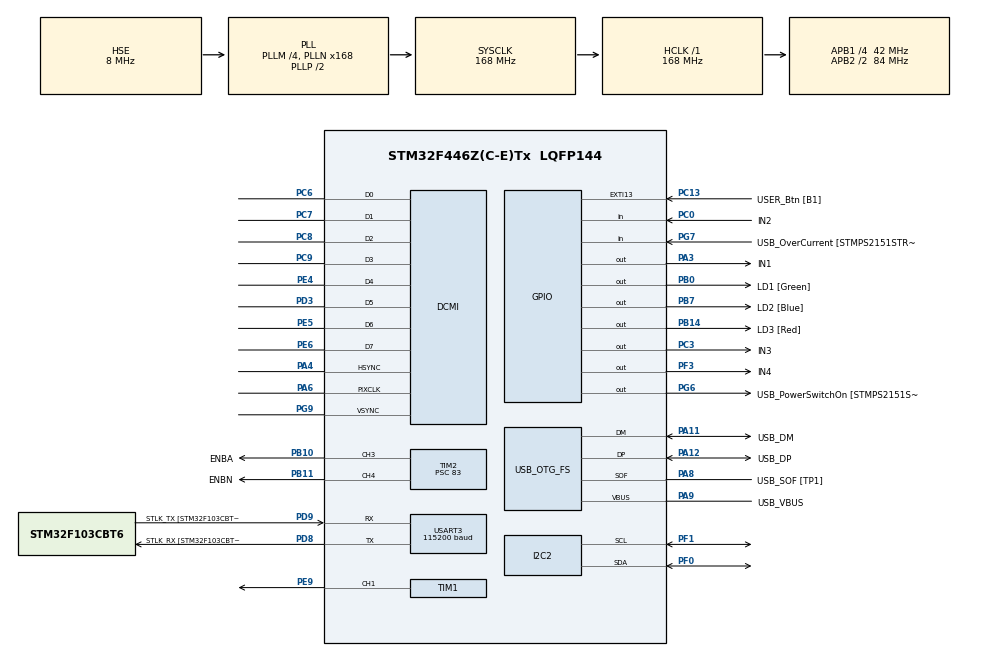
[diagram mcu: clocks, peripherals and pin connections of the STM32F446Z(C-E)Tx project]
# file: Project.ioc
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DCMI.CaptureRate=DCMI_CR_ALL_FRAME
DCMI.PCKPolarity=DCMI_PCKPOLARITY_RISING
DCMI.VSPolarity=DCMI_VSPOLARITY_HIGH
Dma.DCMI.0.Direction=DMA_PERIPH_TO_MEMORY
Dma.DCMI.0.FIFOMode=DMA_FIFOMODE_ENABLE
Dma.DCMI.0.FIFOThreshold=DMA_FIFO_THRESHOLD_FULL
Dma.DCMI.0.Instance=DMA2_Stream1
Dma.DCMI.0.MemBurst=DMA_MBURST_SINGLE
Dma.DCMI.0.MemDataAlignment=DMA_MDATAALIGN_WORD
Dma.DCMI.0.MemInc=DMA_MINC_ENABLE
Dma.DCMI.0.Mode=DMA_CIRCULAR
Dma.DCMI.0.PeriphBurst=DMA_PBURST_SINGLE
Dma.DCMI.0.PeriphDataAlignment=DMA_PDATAALIGN_WORD
Dma.DCMI.0.PeriphInc=DMA_PINC_DISABLE
Dma.DCMI.0.Priority=DMA_PRIORITY_HIGH
Dma.Request0=DCMI
Dma.Request1=USART3_TX
Dma.USART3_TX.1.Direction=DMA_MEMORY_TO_PERIPH
Dma.USART3_TX.1.FIFOMode=DMA_FIFOMODE_ENABLE
Dma.USART3_TX.1.FIFOThreshold=DMA_FIFO_THRESHOLD_FULL
Dma.USART3_TX.1.Instance=DMA1_Stream3
Dma.USART3_TX.1.MemBurst=DMA_MBURST_SINGLE
Dma.USART3_TX.1.MemDataAlignment=DMA_MDATAALIGN_BYTE
Dma.USART3_TX.1.MemInc=DMA_MINC_ENABLE
Dma.USART3_TX.1.Mode=DMA_NORMAL
Dma.USART3_TX.1.PeriphBurst=DMA_PBURST_SINGLE
Dma.USART3_TX.1.PeriphDataAlignment=DMA_PDATAALIGN_BYTE
Dma.USART3_TX.1.PeriphInc=DMA_PINC_DISABLE
Dma.USART3_TX.1.Priority=DMA_PRIORITY_LOW
Mcu.Family=STM32F4
Mcu.Name=STM32F446Z(C-E)Tx
Mcu.Package=LQFP144
NVIC.DCMI_IRQn=true\:0\:0\:false\:false\:true\:true\:true\:true
NVIC.DMA1_Stream3_IRQn=true\:0\:0\:false\:false\:true\:false\:true\:true
NVIC.DMA2_Stream1_IRQn=true\:0\:0\:false\:false\:true\:false\:true\:true
NVIC.EXTI15_10_IRQn=true\:0\:0\:false\:false\:true\:true\:true\:true
NVIC.PriorityGroup=NVIC_PRIORITYGROUP_4
NVIC.TIM6_DAC_IRQn=true\:0\:0\:false\:false\:true\:true\:true\:true
NVIC.USART3_IRQn=true\:0\:0\:false\:false\:true\:true\:true\:true
PA10.GPIO_Label=USB_ID
PA10.Signal=USB_OTG_FS_ID
PA11.GPIO_Label=USB_DM
PA11.Mode=Device_Only
PA11.Signal=USB_OTG_FS_DM
PA12.GPIO_Label=USB_DP
PA12.Mode=Device_Only
PA12.Signal=USB_OTG_FS_DP
PA13.GPIO_Label=TMS
PA13.Mode=Serial_Wire
PA13.Signal=SYS_JTMS-SWDIO
PA14.GPIO_Label=TCK
PA14.Mode=Serial_Wire
PA14.Signal=SYS_JTCK-SWCLK
PA3.GPIO_Label=IN1
PA3.Signal=GPIO_Output
PA4.Mode=Slave_8_bits_External_Synchro
PA4.Signal=DCMI_HSYNC
PA6.Mode=Slave_8_bits_External_Synchro
PA6.Signal=DCMI_PIXCLK
PA8.GPIO_Label=USB_SOF [TP1]
PA8.Mode=Activate_SOF_FS
PA8.Signal=USB_OTG_FS_SOF
PA9.GPIO_Label=USB_VBUS
PA9.Mode=Activate_VBUS
PA9.Signal=USB_OTG_FS_VBUS
PB0.GPIO_Label=LD1 [Green]
PB0.Signal=GPIO_Output
PB10.GPIO_Label=ENBA
PB10.Signal=S_TIM2_CH3
PB11.GPIO_Label=ENBN
PB11.Signal=S_TIM2_CH4
PB14.GPIO_Label=LD3 [Red]
PB14.Signal=GPIO_Output
PB7.GPIO_Label=LD2 [Blue]
PB7.Signal=GPIO_Output
PC0.GPIO_Label=IN2
PC0.Signal=GPIO_Input
PC13.GPIO_Label=USER_Btn [B1]
PC13.Signal=GPXTI13
PC14-OSC32_IN.Mode=LSE-External-Oscillator
PC14-OSC32_IN.Signal=RCC_OSC32_IN
PC15-OSC32_OUT.Mode=LSE-External-Oscillator
PC15-OSC32_OUT.Signal=RCC_OSC32_OUT
PC3.GPIO_Label=IN3
PC3.Signal=GPIO_Output
PC6.Mode=Slave_8_bits_External_Synchro
PC6.Signal=DCMI_D0
PC7.Mode=Slave_8_bits_External_Synchro
PC7.Signal=DCMI_D1
PC8.Mode=Slave_8_bits_External_Synchro
PC8.Signal=DCMI_D2
PC9.Mode=Slave_8_bits_External_Synchro
PC9.Signal=DCMI_D3
PD3.Mode=Slave_8_bits_External_Synchro
PD3.Signal=DCMI_D5
PD8.GPIO_Label=STLK_RX [STM32F103CBT6_PA3]
PD8.Mode=Asynchronous
PD8.Signal=USART3_TX
PD9.GPIO_Label=STLK_TX [STM32F103CBT6_PA2]
PD9.Mode=Asynchronous
PD9.Signal=USART3_RX
PE4.Mode=Slave_8_bits_External_Synchro
PE4.Signal=DCMI_D4
PE5.Mode=Slave_8_bits_External_Synchro
PE5.Signal=DCMI_D6
PE6.Mode=Slave_8_bits_External_Synchro
PE6.Signal=DCMI_D7
PE9.Signal=S_TIM1_CH1
PF0.Mode=I2C
PF0.Signal=I2C2_SDA
PF1.Mode=I2C
PF1.Signal=I2C2_SCL
PF3.GPIO_Label=IN4
PF3.Signal=GPIO_Output
PG6.GPIO_Label=USB_PowerSwitchOn [STMPS2151STR_EN]
PG6.Signal=GPIO_Output
PG7.GPIO_Label=USB_OverCurrent [STMPS2151STR_FAULT]
PG7.Signal=GPIO_Input
PG9.Mode=Slave_8_bits_External_Synchro
PG9.Signal=DCMI_VSYNC
PH0-OSC_IN.GPIO_Label=MCO [STM32F103CBT6_PA8]
PH0-OSC_IN.Mode=HSE-External-Clock-Source
PH0-OSC_IN.Signal=RCC_OSC_IN
PH1-OSC_OUT.Mode=HSE-External-Clock-Source
PH1-OSC_OUT.Signal=RCC_OSC_OUT
ProjectManager.HeapSize=0x200
ProjectManager.StackSize=0x400
ProjectManager.TargetToolchain=STM32CubeIDE
RCC.48MHZClocksFreq_Value=24000000
RCC.AHBFreq_Value=168000000
RCC.APB1CLKDivider=RCC_HCLK_DIV4
RCC.APB1Freq_Value=42000000
RCC.APB1TimFreq_Value=84000000
RCC.APB2CLKDivider=RCC_HCLK_DIV2
RCC.APB2Freq_Value=84000000
RCC.APB2TimFreq_Value=168000000
RCC.CortexFreq_Value=168000000
RCC.HCLKFreq_Value=168000000
RCC.HSE_VALUE=8000000
RCC.HSI_VALUE=16000000
RCC.PLLM=4
RCC.PLLMUL=RCC_PLL_MUL9
RCC.PLLN=168
RCC.PLLQ=7
RCC.PRESCALERUSB=RCC_USBCLKSOURCE_PLL_DIV1_5
RCC.SYSCLKFreq_VALUE=168000000
RCC.SYSCLKSource=RCC_SYSCLKSOURCE_PLLCLK
RCC.SYSCLKSourceVirtual=RCC_SYSCLKSOURCE_PLLCLK
RCC.USBFreq_Value=48000000
RCC.VCOOutputFreq_Value=336000000
SH.S_TIM1_CH1.0=TIM1_CH1,PWM Generation1 CH1
SH.S_TIM2_CH3.0=TIM2_CH3,PWM Generation3 CH3
SH.S_TIM2_CH4.0=TIM2_CH4,PWM Generation4 CH4
TIM1.AutoReloadPreload=TIM_AUTORELOAD_PRELOAD_ENABLE
TIM1.Channel-PWM\ Generation1\ CH1=TIM_CHANNEL_1
TIM1.Period=20
TIM1.Pulse-PWM\ Generation1\ CH1=10
TIM2.Channel-PWM\ Generation3\ CH3=TIM_CHANNEL_3
TIM2.Channel-PWM\ Generation4\ CH4=TIM_CHANNEL_4
TIM2.Period=1000
TIM2.Prescaler=83
USART3.BaudRate=115200
USART3.Mode=MODE_TX_RX
USART3.VirtualMode=VM_ASYNC
USB_OTG_FS.VirtualMode=Device_Only
VP_TIM6_VS_ClockSourceINT.Mode=Enable_Timer
board=NUCLEO-F446ZE

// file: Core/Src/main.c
/* USER CODE BEGIN Header */
/**
  ******************************************************************************
  * @file           : main.c
  * @brief          : Main program body
  ******************************************************************************
  * @attention
  *
  * Copyright (c) 2023 STMicroelectronics.
  * All rights reserved.
  *
  * This software is licensed under terms that can be found in the LICENSE file
  * in the root directory of this software component.
  * If no LICENSE file comes with this software, it is provided AS-IS.
  *
  ******************************************************************************
  */
/* USER CODE END Header */
#include "main.h"

/* USER CODE BEGIN Includes */
#include <string.h>
#include <stdio.h>
#include "config.h"
#include "ov7670.h"
#include "motor.h"
#include "ImageProcess.h"
/* USER CODE END Includes */

/* USER CODE BEGIN PTD */
#define PREAMBLE "\r\n!START!\r\n"
#define DELTA_PREAMBLE "\r\n!DELTA!\r\n"
#define SUFFIX "!END!\r\n"

#define THRESHOLD 0x80

#define M_PI 3.1415926535

uint16_t snapshot_buff1[IMG_ROWS * IMG_COLS] = {0};
uint16_t snapshot_buff2[IMG_ROWS * IMG_COLS] = {0};
uint16_t *current_buff;  // Pointer to the active buffer
uint16_t *process_buff;  // Pointer to the processing buffer

uint8_t currentImage[IMG_ROWS * IMG_COLS] = {0};

//uint8_t tx_buff[sizeof(PREAMBLE) + 2 * IMG_ROWS * IMG_COLS + sizeof(SUFFIX)];
size_t tx_buff_len = 0;

// This is set in stm32f4xx_it.c in the DCMI_IRQHandler function.
uint8_t dma_flag = 0;
uint8_t mode = 1;

uint8_t motor_test_complete = 0;

int BALL_NEW_X = 0;
int BALL_NEW_Y = 0;
int BALL_CURRENT_X = 0;
int BALL_CURRENT_Y = 0;
int Dx = 0;
int Dy = 0;

char msg[100] = {0};

// Add function definitions for any other functions you add here.
void print_buf(uint16_t *snapshot_buff);
//void print_msg(char * msg);

/* USER CODE END PTD */

DCMI_HandleTypeDef hdcmi;
DMA_HandleTypeDef hdma_dcmi;

I2C_HandleTypeDef hi2c2;

TIM_HandleTypeDef htim1;
TIM_HandleTypeDef htim2;
TIM_HandleTypeDef htim6;

//UART_HandleTypeDef huart3;
DMA_HandleTypeDef hdma_usart3_tx;

PCD_HandleTypeDef hpcd_USB_OTG_FS;

void SystemClock_Config(void);
static void MX_GPIO_Init(void);
static void MX_DMA_Init(void);
static void MX_DCMI_Init(void);
static void MX_USART3_UART_Init(void);
static void MX_USB_OTG_FS_PCD_Init(void);
static void MX_I2C2_Init(void);
static void MX_TIM1_Init(void);
static void MX_TIM6_Init(void);
static void MX_TIM2_Init(void);
/* USER CODE BEGIN PFP */
#define PWM_MIN 0
#define PWM_MAX 1000  // Matches your ARR value of 1000

int main(void)
{

  HAL_Init();
  /* Configure the system clock */
  SystemClock_Config();

  /* Initialize all configured peripherals */
  MX_GPIO_Init();
  MX_DMA_Init();
  MX_DCMI_Init();
  MX_USART3_UART_Init();
  MX_USB_OTG_FS_PCD_Init();
  MX_I2C2_Init();
  MX_TIM1_Init();
  MX_TIM6_Init();
  MX_TIM2_Init();

  HAL_TIM_PWM_Start(&htim2, TIM_CHANNEL_X);
  HAL_TIM_PWM_Start(&htim2, TIM_CHANNEL_Y);

  //run_motor_test_sequence();
  /* USER CODE END 2 */

  char msg[100];

  HAL_TIM_PWM_Start(&htim1, TIM_CHANNEL_1);

  ov7670_init();
  HAL_Delay(100);

  reset_motor();

  int R;
  int theta;
  int phi;

  current_buff = snapshot_buff1;
  process_buff = snapshot_buff2;

  ov7670_snapshot(process_buff);

  while(dma_flag == 0){
 //	  	  		  print_msg("Here");
 	  	  		  HAL_Delay(10);
  };

  uint8_t firstMovement = 0;

  /* Infinite loop */
  /* USER CODE BEGIN WHILE */
  while (1)
  {

	  HAL_DCMI_Stop(&hdcmi);  // Stop DCMI to reconfigure DMA
	  ov7670_capture(current_buff);

	  print_buf(process_buff);  // Process the buffer that just finished capturing

      calculateDxDy(); //Function calculates dx, dy for motor

//    sprintf(msg, "BallCurr x: %d, BallNewX: %d\n\r",BALL_CURRENT_X,BALL_NEW_X);
//      print_msg(msg);

	  if(firstMovement <= 10 ){
		  firstMovement++;
		  HAL_GPIO_TogglePin(LD1_GPIO_Port, LD1_Pin);  // Toggle LED for debugging
	  }
	  else{
		 set_motor_direction(Dx/2, Dy);
	  }

	  while(dma_flag == 0){
  //	  	  		  print_msg("Here");
		  HAL_Delay(10);
	  };

	  dma_flag = 0;  // Reset the DMA flag

	  // Swap buffers
	  if (current_buff == snapshot_buff1) {
		process_buff = snapshot_buff1;  // Buffer 1 is ready for processing
		current_buff = snapshot_buff2;  // Switch to buffer 2 for the next frame
	  } else {
		process_buff = snapshot_buff2;  // Buffer 2 is ready for processing
		current_buff = snapshot_buff1;  // Switch to buffer 1 for the next frame
	  }

	  HAL_Delay(200);
  }
}

void print_buf(uint16_t *snapshot_buff) {
  // Create a new buffer from the snapshot_buffer than the DCMI copied the 16-bit pixel values into.
  uint8_t *buffer = (uint8_t *) snapshot_buff;

  tx_buff_len = 0;

  for(int i = 1; i < IMG_COLS * IMG_ROWS * 2; i+= 2){
	  currentImage[tx_buff_len ++] = buffer[i];
  }

  calculateCenter(currentImage, IMG_ROWS, IMG_COLS, THRESHOLD);

  sprintf(msg, "X coord %d, Y coord %d\n\r",BALL_NEW_Y,BALL_NEW_X);
  print_msg(msg);
  //sprintf(msg, "X coord %f, Y coord %f\n\r",ballX,ballY);

}

//void print_msg(char * msg) {
//  HAL_UART_Transmit(&huart3, (uint8_t *)msg, strlen(msg), 100);
//}

void SystemClock_Config(void)
{
  RCC_OscInitTypeDef RCC_OscInitStruct = {0};
  RCC_ClkInitTypeDef RCC_ClkInitStruct = {0};

  /** Configure the main internal regulator output voltage
  */
  __HAL_RCC_PWR_CLK_ENABLE();
  __HAL_PWR_VOLTAGESCALING_CONFIG(PWR_REGULATOR_VOLTAGE_SCALE1);

  /** Initializes the RCC Oscillators according to the specified parameters
  * in the RCC_OscInitTypeDef structure.
  */
  RCC_OscInitStruct.OscillatorType = RCC_OSCILLATORTYPE_HSE;
  RCC_OscInitStruct.HSEState = RCC_HSE_BYPASS;
  RCC_OscInitStruct.PLL.PLLState = RCC_PLL_ON;
  RCC_OscInitStruct.PLL.PLLSource = RCC_PLLSOURCE_HSE;
  RCC_OscInitStruct.PLL.PLLM = 4;
  RCC_OscInitStruct.PLL.PLLN = 168;
  RCC_OscInitStruct.PLL.PLLP = RCC_PLLP_DIV2;
  RCC_OscInitStruct.PLL.PLLQ = 7;
  RCC_OscInitStruct.PLL.PLLR = 2;
  if (HAL_RCC_OscConfig(&RCC_OscInitStruct) != HAL_OK)
  {
    Error_Handler();
  }

  /** Initializes the CPU, AHB and APB buses clocks
  */
  RCC_ClkInitStruct.ClockType = RCC_CLOCKTYPE_HCLK|RCC_CLOCKTYPE_SYSCLK
                              |RCC_CLOCKTYPE_PCLK1|RCC_CLOCKTYPE_PCLK2;
  RCC_ClkInitStruct.SYSCLKSource = RCC_SYSCLKSOURCE_PLLCLK;
  RCC_ClkInitStruct.AHBCLKDivider = RCC_SYSCLK_DIV1;
  RCC_ClkInitStruct.APB1CLKDivider = RCC_HCLK_DIV4;
  RCC_ClkInitStruct.APB2CLKDivider = RCC_HCLK_DIV2;

  if (HAL_RCC_ClockConfig(&RCC_ClkInitStruct, FLASH_LATENCY_5) != HAL_OK)
  {
    Error_Handler();
  }
}

static void MX_DCMI_Init(void)
{

  hdcmi.Instance = DCMI;
  hdcmi.Init.SynchroMode = DCMI_SYNCHRO_HARDWARE;
  hdcmi.Init.PCKPolarity = DCMI_PCKPOLARITY_RISING;
  hdcmi.Init.VSPolarity = DCMI_VSPOLARITY_HIGH;
  hdcmi.Init.HSPolarity = DCMI_HSPOLARITY_LOW;
  hdcmi.Init.CaptureRate = DCMI_CR_ALL_FRAME;
  hdcmi.Init.ExtendedDataMode = DCMI_EXTEND_DATA_8B;
  hdcmi.Init.JPEGMode = DCMI_JPEG_DISABLE;
  hdcmi.Init.ByteSelectMode = DCMI_BSM_ALL;
  hdcmi.Init.ByteSelectStart = DCMI_OEBS_ODD;
  hdcmi.Init.LineSelectMode = DCMI_LSM_ALL;
  hdcmi.Init.LineSelectStart = DCMI_OELS_ODD;
  if (HAL_DCMI_Init(&hdcmi) != HAL_OK)
  {
    Error_Handler();
  }

}

static void MX_I2C2_Init(void)
{

  hi2c2.Instance = I2C2;
  hi2c2.Init.ClockSpeed = 100000;
  hi2c2.Init.DutyCycle = I2C_DUTYCYCLE_2;
  hi2c2.Init.OwnAddress1 = 0;
  hi2c2.Init.AddressingMode = I2C_ADDRESSINGMODE_7BIT;
  hi2c2.Init.DualAddressMode = I2C_DUALADDRESS_DISABLE;
  hi2c2.Init.OwnAddress2 = 0;
  hi2c2.Init.GeneralCallMode = I2C_GENERALCALL_DISABLE;
  hi2c2.Init.NoStretchMode = I2C_NOSTRETCH_DISABLE;
  if (HAL_I2C_Init(&hi2c2) != HAL_OK)
  {
    Error_Handler();
  }

}

static void MX_TIM1_Init(void)
{

  TIM_MasterConfigTypeDef sMasterConfig = {0};
  TIM_OC_InitTypeDef sConfigOC = {0};
  TIM_BreakDeadTimeConfigTypeDef sBreakDeadTimeConfig = {0};

  htim1.Instance = TIM1;
  htim1.Init.Prescaler = 0;
  htim1.Init.CounterMode = TIM_COUNTERMODE_UP;
  htim1.Init.Period = 20;
  htim1.Init.ClockDivision = TIM_CLOCKDIVISION_DIV1;
  htim1.Init.RepetitionCounter = 0;
  htim1.Init.AutoReloadPreload = TIM_AUTORELOAD_PRELOAD_ENABLE;
  if (HAL_TIM_PWM_Init(&htim1) != HAL_OK)
  {
    Error_Handler();
  }
  sMasterConfig.MasterOutputTrigger = TIM_TRGO_RESET;
  sMasterConfig.MasterSlaveMode = TIM_MASTERSLAVEMODE_DISABLE;
  if (HAL_TIMEx_MasterConfigSynchronization(&htim1, &sMasterConfig) != HAL_OK)
  {
    Error_Handler();
  }
  sConfigOC.OCMode = TIM_OCMODE_PWM1;
  sConfigOC.Pulse = 10;
  sConfigOC.OCPolarity = TIM_OCPOLARITY_HIGH;
  sConfigOC.OCNPolarity = TIM_OCNPOLARITY_HIGH;
  sConfigOC.OCFastMode = TIM_OCFAST_DISABLE;
  sConfigOC.OCIdleState = TIM_OCIDLESTATE_RESET;
  sConfigOC.OCNIdleState = TIM_OCNIDLESTATE_RESET;
  if (HAL_TIM_PWM_ConfigChannel(&htim1, &sConfigOC, TIM_CHANNEL_1) != HAL_OK)
  {
    Error_Handler();
  }
  sBreakDeadTimeConfig.OffStateRunMode = TIM_OSSR_DISABLE;
  sBreakDeadTimeConfig.OffStateIDLEMode = TIM_OSSI_DISABLE;
  sBreakDeadTimeConfig.LockLevel = TIM_LOCKLEVEL_OFF;
  sBreakDeadTimeConfig.DeadTime = 0;
  sBreakDeadTimeConfig.BreakState = TIM_BREAK_DISABLE;
  sBreakDeadTimeConfig.BreakPolarity = TIM_BREAKPOLARITY_HIGH;
  sBreakDeadTimeConfig.AutomaticOutput = TIM_AUTOMATICOUTPUT_DISABLE;
  if (HAL_TIMEx_ConfigBreakDeadTime(&htim1, &sBreakDeadTimeConfig) != HAL_OK)
  {
    Error_Handler();
  }
  HAL_TIM_MspPostInit(&htim1);

}

static void MX_TIM2_Init(void)
{

  TIM_MasterConfigTypeDef sMasterConfig = {0};
  TIM_OC_InitTypeDef sConfigOC = {0};

  htim2.Instance = TIM2;
  htim2.Init.Prescaler = 3;
  htim2.Init.CounterMode = TIM_COUNTERMODE_UP;
  htim2.Init.Period = 1000;
  htim2.Init.ClockDivision = TIM_CLOCKDIVISION_DIV1;
  htim2.Init.AutoReloadPreload = TIM_AUTORELOAD_PRELOAD_DISABLE;
  if (HAL_TIM_PWM_Init(&htim2) != HAL_OK)
  {
    Error_Handler();
  }
  sMasterConfig.MasterOutputTrigger = TIM_TRGO_RESET;
  sMasterConfig.MasterSlaveMode = TIM_MASTERSLAVEMODE_DISABLE;
  if (HAL_TIMEx_MasterConfigSynchronization(&htim2, &sMasterConfig) != HAL_OK)
  {
    Error_Handler();
  }
  sConfigOC.OCMode = TIM_OCMODE_PWM1;
  sConfigOC.Pulse = 0;
  sConfigOC.OCPolarity = TIM_OCPOLARITY_HIGH;
  sConfigOC.OCFastMode = TIM_OCFAST_DISABLE;
  if (HAL_TIM_PWM_ConfigChannel(&htim2, &sConfigOC, TIM_CHANNEL_3) != HAL_OK)
  {
    Error_Handler();
  }
  if (HAL_TIM_PWM_ConfigChannel(&htim2, &sConfigOC, TIM_CHANNEL_4) != HAL_OK)
  {
    Error_Handler();
  }
  HAL_TIM_MspPostInit(&htim2);

}

static void MX_TIM6_Init(void)
{

  TIM_MasterConfigTypeDef sMasterConfig = {0};

  htim6.Instance = TIM6;
  htim6.Init.Prescaler = 0;
  htim6.Init.CounterMode = TIM_COUNTERMODE_UP;
  htim6.Init.Period = 65535;
  htim6.Init.AutoReloadPreload = TIM_AUTORELOAD_PRELOAD_DISABLE;
  if (HAL_TIM_Base_Init(&htim6) != HAL_OK)
  {
    Error_Handler();
  }
  sMasterConfig.MasterOutputTrigger = TIM_TRGO_RESET;
  sMasterConfig.MasterSlaveMode = TIM_MASTERSLAVEMODE_DISABLE;
  if (HAL_TIMEx_MasterConfigSynchronization(&htim6, &sMasterConfig) != HAL_OK)
  {
    Error_Handler();
  }

}

static void MX_USART3_UART_Init(void)
{

  huart3.Instance = USART3;
  huart3.Init.BaudRate = 115200;
  huart3.Init.WordLength = UART_WORDLENGTH_8B;
  huart3.Init.StopBits = UART_STOPBITS_1;
  huart3.Init.Parity = UART_PARITY_NONE;
  huart3.Init.Mode = UART_MODE_TX_RX;
  huart3.Init.HwFlowCtl = UART_HWCONTROL_NONE;
  huart3.Init.OverSampling = UART_OVERSAMPLING_16;
  if (HAL_UART_Init(&huart3) != HAL_OK)
  {
    Error_Handler();
  }

}

static void MX_USB_OTG_FS_PCD_Init(void)
{

  hpcd_USB_OTG_FS.Instance = USB_OTG_FS;
  hpcd_USB_OTG_FS.Init.dev_endpoints = 6;
  hpcd_USB_OTG_FS.Init.speed = PCD_SPEED_FULL;
  hpcd_USB_OTG_FS.Init.dma_enable = DISABLE;
  hpcd_USB_OTG_FS.Init.phy_itface = PCD_PHY_EMBEDDED;
  hpcd_USB_OTG_FS.Init.Sof_enable = ENABLE;
  hpcd_USB_OTG_FS.Init.low_power_enable = DISABLE;
  hpcd_USB_OTG_FS.Init.lpm_enable = DISABLE;
  hpcd_USB_OTG_FS.Init.vbus_sensing_enable = ENABLE;
  hpcd_USB_OTG_FS.Init.use_dedicated_ep1 = DISABLE;
  if (HAL_PCD_Init(&hpcd_USB_OTG_FS) != HAL_OK)
  {
    Error_Handler();
  }

}

static void MX_DMA_Init(void)
{

  /* DMA controller clock enable */
  __HAL_RCC_DMA2_CLK_ENABLE();
  __HAL_RCC_DMA1_CLK_ENABLE();

  /* DMA interrupt init */
  /* DMA1_Stream3_IRQn interrupt configuration */
  HAL_NVIC_SetPriority(DMA1_Stream3_IRQn, 0, 0);
  HAL_NVIC_EnableIRQ(DMA1_Stream3_IRQn);
  /* DMA2_Stream1_IRQn interrupt configuration */
  HAL_NVIC_SetPriority(DMA2_Stream1_IRQn, 0, 0);
  HAL_NVIC_EnableIRQ(DMA2_Stream1_IRQn);

}

static void MX_GPIO_Init(void)
{
  GPIO_InitTypeDef GPIO_InitStruct = {0};

  /* GPIO Ports Clock Enable */
  __HAL_RCC_GPIOE_CLK_ENABLE();
  __HAL_RCC_GPIOC_CLK_ENABLE();
  __HAL_RCC_GPIOF_CLK_ENABLE();
  __HAL_RCC_GPIOH_CLK_ENABLE();
  __HAL_RCC_GPIOA_CLK_ENABLE();
  __HAL_RCC_GPIOB_CLK_ENABLE();
  __HAL_RCC_GPIOD_CLK_ENABLE();
  __HAL_RCC_GPIOG_CLK_ENABLE();

  /*Configure GPIO pin Output Level */
  HAL_GPIO_WritePin(IN4_GPIO_Port, IN4_Pin, GPIO_PIN_RESET);

  /*Configure GPIO pin Output Level */
  HAL_GPIO_WritePin(IN3_GPIO_Port, IN2_Pin | IN3_Pin, GPIO_PIN_RESET);

  /*Configure GPIO pin Output Level */
  HAL_GPIO_WritePin(IN1_GPIO_Port, IN1_Pin, GPIO_PIN_RESET);

  /*Configure GPIO pin Output Level */
  HAL_GPIO_WritePin(GPIOB, LD1_Pin|LD3_Pin|LD2_Pin, GPIO_PIN_RESET);

  /*Configure GPIO pin Output Level */
  HAL_GPIO_WritePin(USB_PowerSwitchOn_GPIO_Port, USB_PowerSwitchOn_Pin, GPIO_PIN_RESET);

  /*Configure GPIO pin : USER_Btn_Pin */
  GPIO_InitStruct.Pin = USER_Btn_Pin;
  GPIO_InitStruct.Mode = GPIO_MODE_IT_RISING;
  GPIO_InitStruct.Pull = GPIO_NOPULL;
  HAL_GPIO_Init(USER_Btn_GPIO_Port, &GPIO_InitStruct);

  /*Configure GPIO pin : IN4_Pin */
   GPIO_InitStruct.Pin = IN4_Pin;
   GPIO_InitStruct.Mode = GPIO_MODE_OUTPUT_PP;
   GPIO_InitStruct.Pull = GPIO_NOPULL;
   GPIO_InitStruct.Speed = GPIO_SPEED_FREQ_LOW;
   HAL_GPIO_Init(IN4_GPIO_Port, &GPIO_InitStruct);

   /*Configure GPIO pins : IN2_Pin IN3_Pin */
   GPIO_InitStruct.Pin = IN2_Pin|IN3_Pin;
   GPIO_InitStruct.Mode = GPIO_MODE_OUTPUT_PP;
   GPIO_InitStruct.Pull = GPIO_NOPULL;
   GPIO_InitStruct.Speed = GPIO_SPEED_FREQ_LOW;
   HAL_GPIO_Init(GPIOC, &GPIO_InitStruct);

   /*Configure GPIO pin : IN1_Pin */
   GPIO_InitStruct.Pin = IN1_Pin;
   GPIO_InitStruct.Mode = GPIO_MODE_OUTPUT_PP;
   GPIO_InitStruct.Pull = GPIO_NOPULL;
   GPIO_InitStruct.Speed = GPIO_SPEED_FREQ_LOW;
   HAL_GPIO_Init(IN1_GPIO_Port, &GPIO_InitStruct);

  /*Configure GPIO pins : LD1_Pin LD3_Pin LD2_Pin */
  GPIO_InitStruct.Pin = LD1_Pin|LD3_Pin|LD2_Pin;
  GPIO_InitStruct.Mode = GPIO_MODE_OUTPUT_PP;
  GPIO_InitStruct.Pull = GPIO_NOPULL;
  GPIO_InitStruct.Speed = GPIO_SPEED_FREQ_LOW;
  HAL_GPIO_Init(GPIOB, &GPIO_InitStruct);

  /*Configure GPIO pin : USB_PowerSwitchOn_Pin */
  GPIO_InitStruct.Pin = USB_PowerSwitchOn_Pin;
  GPIO_InitStruct.Mode = GPIO_MODE_OUTPUT_PP;
  GPIO_InitStruct.Pull = GPIO_NOPULL;
  GPIO_InitStruct.Speed = GPIO_SPEED_FREQ_LOW;
  HAL_GPIO_Init(USB_PowerSwitchOn_GPIO_Port, &GPIO_InitStruct);

  /*Configure GPIO pin : USB_OverCurrent_Pin */
  GPIO_InitStruct.Pin = USB_OverCurrent_Pin;
  GPIO_InitStruct.Mode = GPIO_MODE_INPUT;
  GPIO_InitStruct.Pull = GPIO_NOPULL;
  HAL_GPIO_Init(USB_OverCurrent_GPIO_Port, &GPIO_InitStruct);

  /* EXTI interrupt init*/
  HAL_NVIC_SetPriority(EXTI15_10_IRQn, 0, 0);
  HAL_NVIC_EnableIRQ(EXTI15_10_IRQn);

}

void Error_Handler(void)
{
  __disable_irq();
  while (1)
  {
  }
}
